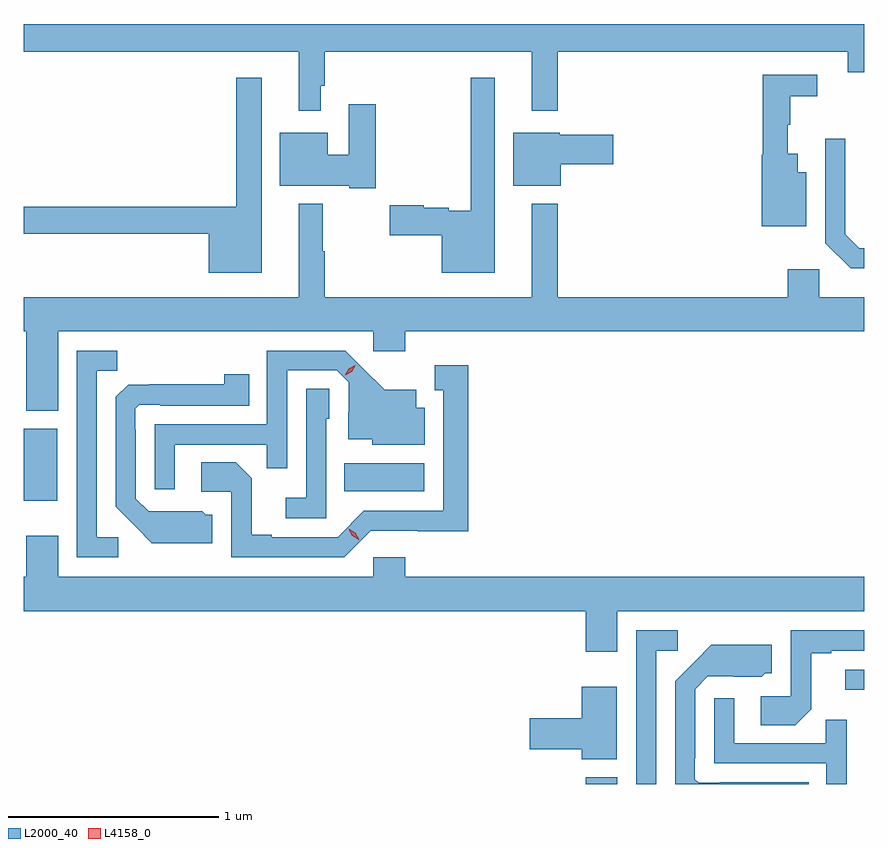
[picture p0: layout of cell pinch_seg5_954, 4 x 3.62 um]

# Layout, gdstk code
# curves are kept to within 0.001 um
import gdstk
lib = gdstk.Library(unit=1e-6, precision=1e-09)
def R(c, l, rs):  # rectangles x0, y0, x1, y1
    for r in rs: c.add(gdstk.rectangle(r[:2], r[2:], *l))
def P(c, l, *ps):  # polygons
    for p in ps: c.add(gdstk.Polygon(p, *l))
L2000_40 = (2000, 40)
L4158_0 = (4158, 0)

pinch_seg5_954 = lib.new_cell('pinch_seg5_954')
R(pinch_seg5_954, L2000_40, [(700.622,911.881,700.774,911.914), (701.859,912.329,701.948,912.426), (697.948,913.23,698.107,913.573), (699.472,913.274,699.853,913.408)])
P(pinch_seg5_954, L2000_40, [(699.361,915.205),(699.379,915.205),(699.379,915.368),(700.367,915.368),(700.367,915.087),(700.489,915.087),(700.489,915.368),(701.87,915.368),(701.87,915.27),(701.948,915.27),(701.948,915.5),(697.948,915.5),(697.948,915.368),(699.257,915.368),(699.257,915.087),(699.361,915.087)],
  [(701.674,914.794),(701.632,914.794),(701.632,914.881),(701.585,914.881),(701.585,915.021),(701.596,915.021),(701.596,915.157),(701.725,915.157),(701.725,915.258),(701.467,915.258),(701.467,914.877),(701.462,914.877),(701.462,914.537),(701.674,914.537)],
  [(700.189,915.244),(700.075,915.244),(700.075,914.611),(699.971,914.611),(699.971,914.624),(699.852,914.624),(699.852,914.636),(699.69,914.636),(699.69,914.494),(699.938,914.494),(699.938,914.315),(700.189,914.315)],
  [(699.079,915.244),(698.958,915.244),(698.958,914.63),(697.948,914.63),(697.948,914.502),(698.828,914.502),(698.828,914.315),(699.079,914.315)],
  [(699.624,915.118),(699.494,915.118),(699.494,914.877),(699.394,914.877),(699.394,914.983),(699.167,914.983),(699.167,914.729),(699.498,914.729),(699.498,914.717),(699.624,914.717)],
  [(700.504,914.831),(700.753,914.831),(700.753,914.973),(700.5,914.973),(700.5,914.983),(700.277,914.983),(700.277,914.729),(700.504,914.729)],
  [(701.948,914.433),(701.925,914.433),(701.859,914.499),(701.859,914.953),(701.763,914.953),(701.763,914.457),(701.884,914.336),(701.948,914.336)],
  [(698.11,914.036),(699.612,914.036),(699.612,913.941),(699.764,913.941),(699.764,914.036),(701.948,914.036),(701.948,914.2),(701.736,914.2),(701.736,914.332),(701.585,914.332),(701.585,914.2),(700.489,914.2),(700.489,914.644),(700.367,914.644),(700.367,914.2),(699.379,914.2),(699.379,914.417),(699.371,914.417),(699.371,914.644),(699.257,914.644),(699.257,914.2),(697.948,914.2),(697.948,914.036),(697.958,914.036),(697.958,913.658),(698.11,913.658)],
  [(698.398,913.056),(698.295,913.056),(698.295,913.849),(698.391,913.849),(698.391,913.944),(698.199,913.944),(698.199,912.96),(698.398,912.96)],
  [(698.667,913.497),(699.103,913.497),(699.103,913.384),(699.201,913.384),(699.201,913.851),(699.438,913.851),(699.495,913.794),(699.495,913.652),(699.491,913.652),(699.491,913.523),(699.606,913.523),(699.606,913.496),(699.856,913.496),(699.856,913.672),(699.817,913.672),(699.817,913.759),(699.665,913.759),(699.478,913.944),(699.105,913.944),(699.105,913.593),(698.571,913.593),(698.571,913.284),(698.667,913.284)],
  [(699.6,913.086),(700.063,913.085),(700.063,913.876),(699.905,913.876),(699.905,913.755),(699.944,913.755),(699.944,913.182),(699.567,913.182),(699.441,913.056),(699.127,913.056),(699.127,913.069),(699.033,913.069),(699.033,913.336),(698.957,913.412),(698.793,913.412),(698.793,913.272),(698.934,913.272),(698.934,912.96),(699.474,912.96)],
  [(698.845,913.164),(698.814,913.164),(698.798,913.18),(698.541,913.179),(698.481,913.239),(698.481,913.568),(698.478,913.568),(698.478,913.668),(698.496,913.686),(698.596,913.686),(698.596,913.683),(699.02,913.683),(699.02,913.831),(698.902,913.831),(698.902,913.784),(698.444,913.783),(698.385,913.724),(698.385,913.202),(698.557,913.028),(698.845,913.028)],
  [(699.387,913.62),(699.402,913.62),(699.402,913.763),(699.291,913.763),(699.291,913.243),(699.195,913.243),(699.195,913.146),(699.387,913.146)],
  [(700.774,912.704),(701.948,912.704),(701.948,912.868),(699.764,912.868),(699.764,912.961),(699.612,912.961),(699.612,912.868),(698.11,912.868),(698.11,913.063),(697.958,913.063),(697.958,912.868),(697.948,912.868),(697.948,912.704),(700.622,912.704),(700.622,912.51),(700.774,912.51)],
  [(701.697,912.236),(701.697,912.504),(701.791,912.504),(701.791,912.516),(701.948,912.516),(701.948,912.612),(701.598,912.612),(701.598,912.3),(701.457,912.3),(701.457,912.16),(701.621,912.16)],
  [(700.959,912.516),(701.062,912.516),(701.062,912.612),(700.863,912.612),(700.863,911.881),(700.959,911.881)],
  [(701.684,911.89),(701.26,911.89),(701.26,911.886),(701.16,911.886),(701.142,911.904),(701.142,912.004),(701.145,912.004),(701.145,912.333),(701.205,912.393),(701.462,912.392),(701.478,912.408),(701.509,912.408),(701.509,912.544),(701.221,912.544),(701.049,912.37),(701.049,911.881),(701.684,911.881)],
  [(700.771,912.343),(700.604,912.343),(700.604,912.194),(700.356,912.194),(700.356,912.047),(700.604,912.047),(700.604,911.999),(700.771,911.999)],
  [(701.865,912.188),(701.767,912.188),(701.767,912.075),(701.331,912.075),(701.331,912.289),(701.235,912.289),(701.235,911.979),(701.769,911.979),(701.769,911.881),(701.865,911.881)])
P(pinch_seg5_954, L4158_0, [(699.543,913.044),(699.512,913.063),(699.494,913.095),(699.494,913.096),(699.494,913.096),(699.526,913.077),(699.544,913.045),(699.544,913.044)],
  [(699.477,913.828),(699.477,913.829),(699.494,913.858),(699.525,913.874),(699.525,913.874),(699.525,913.873),(699.508,913.844),(699.477,913.828)])

lib.write_gds('pinch_seg5_954.gds')
